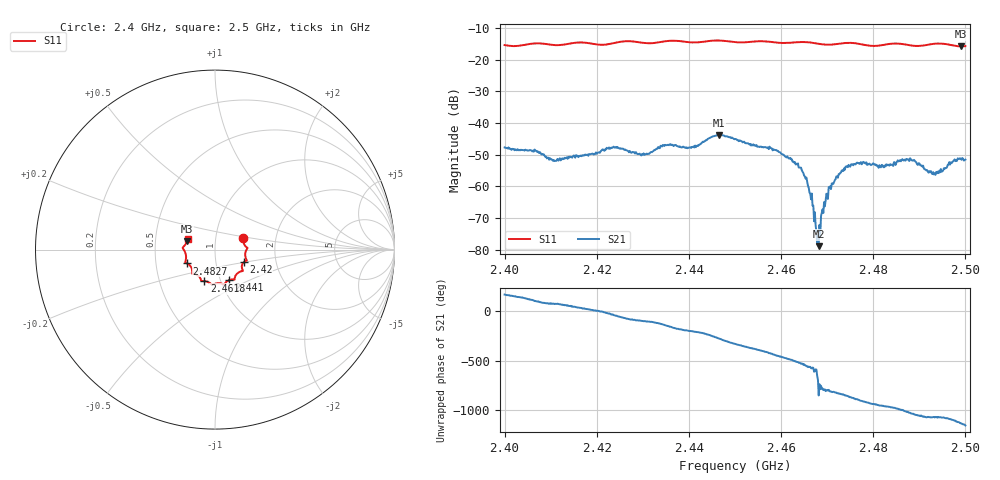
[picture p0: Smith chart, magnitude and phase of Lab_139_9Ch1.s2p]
# Hz S RI R 50
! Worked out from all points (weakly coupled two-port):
!   601 points, 2.4 GHz to 2.5 GHz, reference 50 ohm
!   highest |S21| = -43.77 dB at 2.4465 GHz (marker M1); lowest = -78.9 dB at 2.4682 GHz (marker M2)
!   lowest |S11| = -15.8 dB at 2.499 GHz (marker M3), VSWR 1.39, Z = 36.4 + j3.48 ohm
!   |S11| at or under -10 dB: start of sweep to end of sweep
!   S12 and S22 are empty: the file has one direction only
!   S11 on the Smith chart (normalised r, x): 2.4 GHz: 1.36, +0.18; 2.42 GHz: 1.36, -0.20; 2.441 GHz: 1.10, -0.39; 2.4618 GHz: 0.84, -0.30; 2.4827 GHz: 0.72, -0.12; 2.5 GHz: 0.73, +0.09
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2.4e9  0.1584 0.0627  -0.00405 0.000766  0 0  0 0
2.410833e9  0.1697 -0.0147  0.000734 0.00241  0 0  0 0
2.416667e9  0.1772 -0.061  0.0025 0.00165  0 0  0 0
2.42e9  0.1597 -0.0704  0.00326 0.000331  0 0  0 0
2.433333e9  0.1116 -0.1509  -0.00204 -0.00366  0 0  0 0
2.441e9  0.0786 -0.1699  -0.0039 0.00174  0 0  0 0
2.4465e9  0.049 -0.1951  0.000496 0.00646  0 0  0 0
2.45e9  0.0286 -0.1874  0.00479 0.00285  0 0  0 0
2.461833e9  -0.0592 -0.1753  -0.00154 -0.00228  0 0  0 0
2.465e9  -0.0761 -0.1742  -0.00148 -0.000122  0 0  0 0
2.466667e9  -0.0786 -0.1684  -0.000628 0.000448  0 0  0 0
2.467667e9  -0.081 -0.1616  -0.000131 0.000144  0 0  0 0
2.468167e9  -0.0829 -0.158  -7.2e-05 -8.8e-05  0 0  0 0
2.470167e9  -0.0965 -0.143  0.00011 -0.000623  0 0  0 0
2.473167e9  -0.1215 -0.1346  -0.000763 -0.00161  0 0  0 0
2.476833e9  -0.1272 -0.1256  -0.00232 -0.000281  0 0  0 0
2.482667e9  -0.1558 -0.0773  -0.00102 0.0018  0 0  0 0
2.483333e9  -0.1601 -0.0751  -0.000995 0.00194  0 0  0 0
2.4885e9  -0.1611 -0.0437  0.00178 0.00183  0 0  0 0
2.493333e9  -0.1788 0.00629  0.00159 0.000259  0 0  0 0
2.499e9  -0.1554 0.0465  0.00179 -0.00202  0 0  0 0
2.5e9  -0.1523 0.0605  0.000813 -0.00252  0 0  0 0
